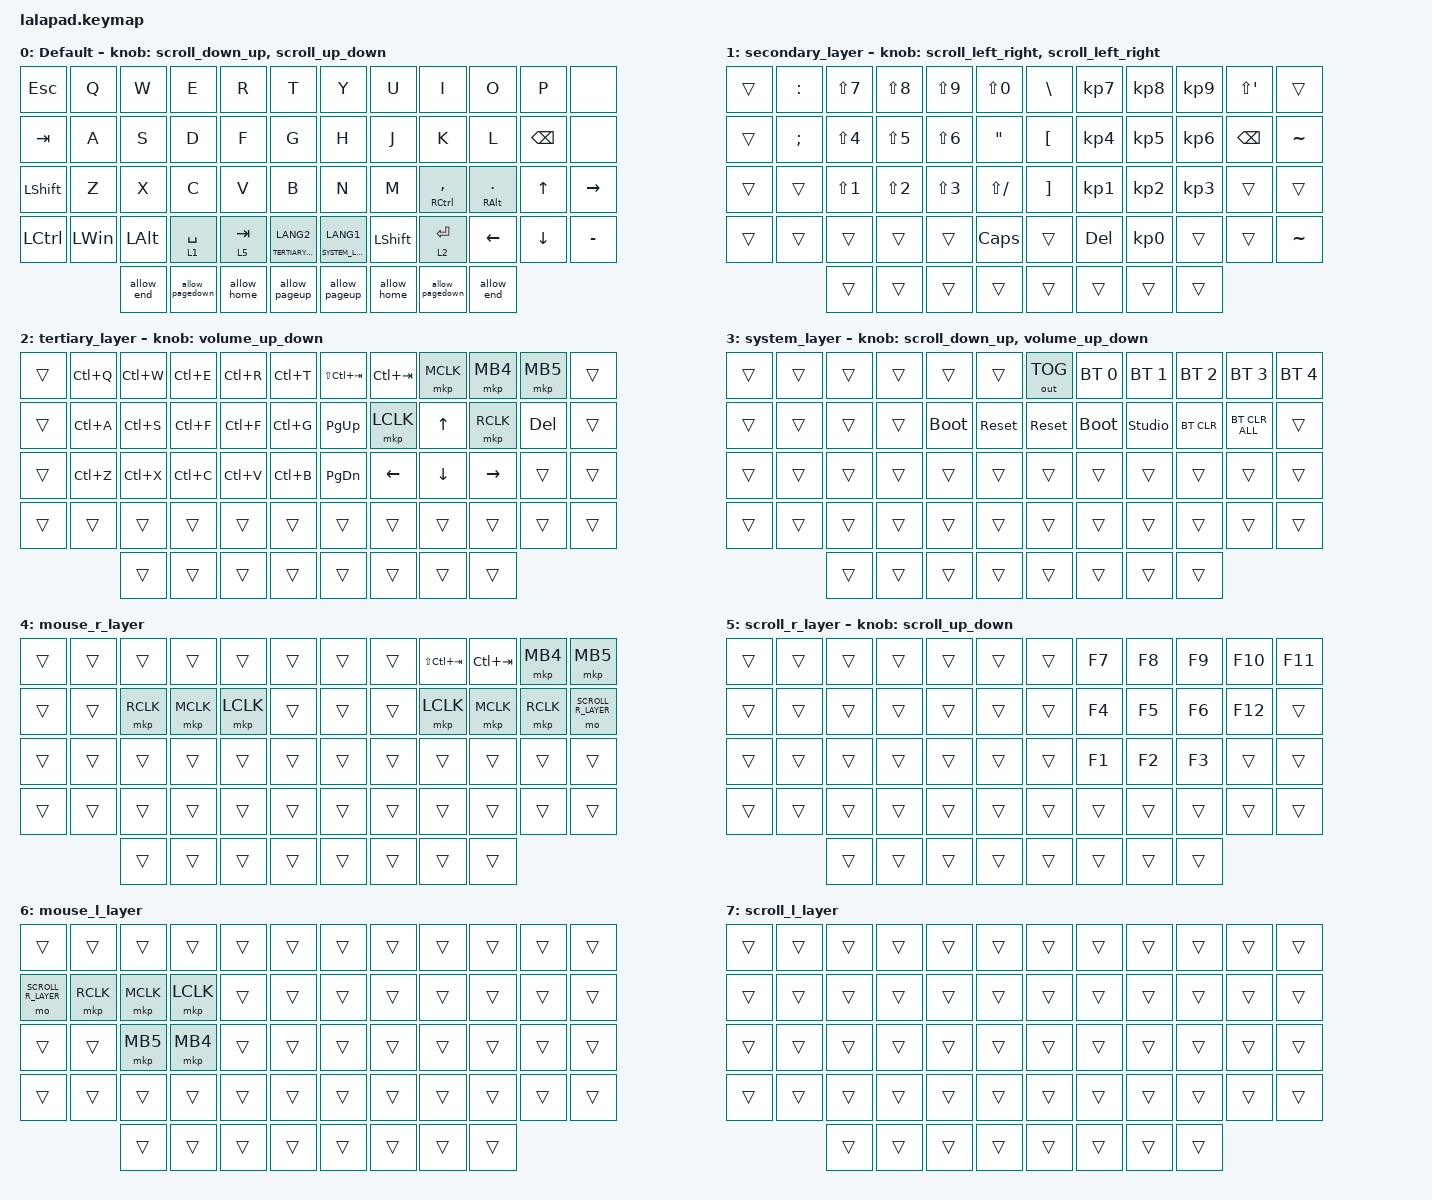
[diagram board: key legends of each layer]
#include <input/processors.dtsi>
#include <behaviors.dtsi>
#include <dt-bindings/zmk/bt.h>
#include <dt-bindings/zmk/keys.h>
#include <dt-bindings/zmk/outputs.h>
#include <dt-bindings/zmk/pointing.h>

#define DEFAULT_LAYER   0
#define SECONDARY_LAYER 1
#define TERTIARY_LAYER  2
#define SYSTEM_LAYER    3
#define MOUSE_R_LAYER   4
#define SCROLL_R_LAYER  5
#define MOUSE_L_LAYER   6
#define SCROLL_L_LAYER  7

// Mouse Scroll Value

#define ZMK_POINTING_DEFAULT_SCRL_VAL 100

// cirque trackpad input&layer control

&glidepoint_listener_R {
    input-processors =
        <&zip_xy_transform (INPUT_TRANSFORM_XY_SWAP | INPUT_TRANSFORM_X_INVERT | INPUT_TRANSFORM_Y_INVERT)>,
        <&zip_xy_scaler 2 1>,
        <&zip_temp_layer MOUSE_R_LAYER 500>;

    lowspeedmode {
        layers = <SECONDARY_LAYER>;
        input-processors =
            <&zip_xy_transform (INPUT_TRANSFORM_XY_SWAP | INPUT_TRANSFORM_X_INVERT | INPUT_TRANSFORM_Y_INVERT)>,
            <&zip_xy_scaler 3 5>,
            <&zip_temp_layer MOUSE_R_LAYER 500>;
    };

    scroller {
        layers = <SCROLL_R_LAYER>;
        input-processors =
            <&zip_xy_to_scroll_mapper>,
            <&zip_scroll_transform (INPUT_TRANSFORM_XY_SWAP | INPUT_TRANSFORM_Y_INVERT)>,
            <&zip_scroll_scaler 1 8>;
    };
};

&glidepoint_listener_L {
    input-processors =
        <&zip_xy_transform (INPUT_TRANSFORM_XY_SWAP | INPUT_TRANSFORM_X_INVERT | INPUT_TRANSFORM_Y_INVERT)>,
        <&zip_xy_scaler 3 2>,
        <&zip_temp_layer MOUSE_L_LAYER 500>;

    lowspeedmode {
        layers = <SECONDARY_LAYER>;
        input-processors =
            <&zip_xy_transform (INPUT_TRANSFORM_XY_SWAP | INPUT_TRANSFORM_X_INVERT | INPUT_TRANSFORM_Y_INVERT)>,
            <&zip_xy_scaler 3 4>,
            <&zip_temp_layer MOUSE_L_LAYER 500>;
    };

    scroller {
        layers = <SCROLL_L_LAYER>;
        input-processors =
            <&zip_xy_to_scroll_mapper>,
            <&zip_scroll_transform (INPUT_TRANSFORM_XY_SWAP | INPUT_TRANSFORM_Y_INVERT)>,
            <&zip_scroll_scaler 1 6>;
    };
};

/ {
    behaviors {
        // Encoder to Mouse Scroll

        scroll_up_down: sensor_scroll_up_down {
            compatible = "zmk,behavior-sensor-rotate";
            #sensor-binding-cells = <0>;
            bindings = <&msc SCRL_UP>, <&msc SCRL_DOWN>;

            tap-ms = <20>;
            label = "SCROLL_UP_DOWN";
        };

        scroll_down_up: sensor_scroll_down_up {
            compatible = "zmk,behavior-sensor-rotate";
            #sensor-binding-cells = <0>;
            bindings = <&msc SCRL_DOWN>, <&msc SCRL_UP>;

            tap-ms = <20>;
            label = "SCROLL_DOWN_UP";
        };

        scroll_left_right: sensor_scroll_left_right {
            compatible = "zmk,behavior-sensor-rotate";
            #sensor-binding-cells = <0>;
            bindings = <&msc SCRL_LEFT>, <&msc SCRL_RIGHT>;

            tap-ms = <20>;
            label = "SCROLL_LEFT_RIGHT";
        };

        scroll_right_left: sensor_scroll_right_left {
            compatible = "zmk,behavior-sensor-rotate";
            #sensor-binding-cells = <0>;
            bindings = <&msc SCRL_RIGHT>, <&msc SCRL_LEFT>;

            tap-ms = <20>;
            label = "SCROLL_RIGHT_LEFT";
        };

        volume_up_down: sensor_volume_up_down {
            compatible = "zmk,behavior-sensor-rotate";
            #sensor-binding-cells = <0>;
            bindings = <&kp C_VOLUME_UP>, <&kp C_VOLUME_DOWN>;

            tap-ms = <20>;
            label = "VOLUME_UP_DOWN";
        };

        dot_comma: dot_comma {
            compatible = "zmk,behavior-mod-morph";
            #binding-cells = <0>;
            bindings = <&kp KP_DOT>, <&kp COMMA>;

            mods = <(MOD_LSFT|MOD_RSFT)>;
            label = "DOT_COMMA";
        };

        pls_minus: pls_minus {
            compatible = "zmk,behavior-mod-morph";
            #binding-cells = <0>;
            bindings = <&kp PLUS>, <&kp MINUS>;

            mods = <(MOD_LSFT|MOD_RSFT)>;
            label = "PLS_MINUS";
        };

        allow_pageup: allow_pageup {
            compatible = "zmk,behavior-mod-morph";
            #binding-cells = <0>;
            bindings = <&kp UP>, <&kp PAGE_UP>;

            mods = <(MOD_LCTL|MOD_RCTL)>;
            label = "ALLOW_PAGEUP";
        };

        allow_pagedown: allow_pagedown {
            compatible = "zmk,behavior-mod-morph";
            #binding-cells = <0>;
            bindings = <&kp DOWN>, <&kp PAGE_DOWN>;

            mods = <(MOD_LCTL|MOD_RCTL)>;
            label = "ALLOW_PAGEDOWN";
        };

        allow_home: allow_home {
            compatible = "zmk,behavior-mod-morph";
            #binding-cells = <0>;
            bindings = <&kp LEFT>, <&kp HOME>;

            mods = <(MOD_LCTL|MOD_RCTL)>;
            label = "ALLOW_HOME";
        };

        allow_end: allow_end {
            compatible = "zmk,behavior-mod-morph";
            #binding-cells = <0>;
            bindings = <&kp RIGHT>, <&kp END>;

            mods = <(MOD_LCTL|MOD_RCTL)>;
            label = "ALLOW_END";
        };

        mt2: mod_tap2 {
            compatible = "zmk,behavior-hold-tap";
            #binding-cells = <2>;
            flavor = "tap-preferred";
            tapping-term-ms = <200>;
            quick-tap-ms = <200>;
            require-prior-idle-ms = <125>;
            bindings = <&kp>, <&kp>;
        };

        tapdance_minus_alt_dot: tapdance_minus_alt_dot {
            compatible = "zmk,behavior-tap-dance";
            label = "TAPDANCE_MINUS_ALT_DOT";
            #binding-cells = <0>;
            bindings = <&mt RIGHT_ALT MINUS>, <&kp PERIOD>;
        };

        TD_minus_l_nami: TD_minus_l_nami {
            compatible = "zmk,behavior-tap-dance";
            label = "TD_MINUS_L_NAMI";
            #binding-cells = <0>;
            bindings = <&kp MINUS>, <&mt TILDE L>;
        };
    };

    combos {
        compatible = "zmk,combos";

        COMBO_Slash {
            bindings = <&kp KP_SLASH>;
            key-positions = <7 8>;
            layers = <1>;
        };

        COMBO_Asterisk {
            bindings = <&kp ASTERISK>;
            key-positions = <8 9>;
            layers = <1>;
        };

        COMBO_Plus {
            bindings = <&kp PLUS>;
            key-positions = <20 21>;
            layers = <1>;
        };

        COMBO_Minus {
            bindings = <&kp MINUS>;
            key-positions = <20 19>;
            layers = <1>;
        };

        COMBO_Equal {
            bindings = <&kp EQUAL>;
            key-positions = <31 32>;
            layers = <1>;
        };

        COMBO_Period {
            bindings = <&kp PERIOD>;
            key-positions = <32 33>;
            layers = <1>;
        };

        kana {
            bindings = <&kp LANGUAGE_1>;
            key-positions = <18 19>;
            layers = <0>;
        };

        eiji {
            bindings = <&kt LANGUAGE_2>;
            key-positions = <17 16>;
            layers = <0>;
        };

        f10 {
            bindings = <&kp F10>;
            key-positions = <31 19>;
            layers = <5>;
        };

        f11 {
            bindings = <&kp F11>;
            key-positions = <32 20>;
            layers = <5>;
        };

        f12 {
            bindings = <&kp F12>;
            key-positions = <33 21>;
            layers = <5>;
        };
    };

    keymap {
        compatible = "zmk,keymap";

        DEFAULT_LAYER {
            display-name = "Default";
            sensor-bindings = <&scroll_down_up>, <&scroll_up_down>;

            bindings = <
&kp ESC    &kp Q         &kp W         &kp E            &kp R        &kp T                     &kp Y                   &kp U        &kp I            &kp O              &kp P          &none
&kp TAB    &kp A         &kp S         &kp D            &kp F        &kp G                     &kp H                   &kp J        &kp K            &kp L              &kp BACKSPACE  &none
&kp LSHFT  &kp Z         &kp X         &kp C            &kp V        &kp B                     &kp N                   &kp M        &mt RCTRL COMMA  &mt RIGHT_ALT DOT  &kp UP         &kp RIGHT_ARROW
&kp LCTRL  &kp LEFT_WIN  &kp LEFT_ALT  &lt 1 SPACE      &lt 5 TAB    &lt TERTIARY_LAYER LANG2  &lt SYSTEM_LAYER LANG1  &kp LSHIFT   &lt 2 ENTER      &kp LEFT           &kp DOWN       &kp MINUS
                         &allow_end    &allow_pagedown  &allow_home  &allow_pageup             &allow_pageup           &allow_home  &allow_pagedown  &allow_end
            >;
        };

        SECONDARY_LAYER {
            display-name = "secondary_layer";
            sensor-bindings = <&scroll_left_right>, <&scroll_left_right>;

            bindings = <
&trans  &kp COLON      &kp LS(NUMBER_7)  &kp LS(N8)        &kp LS(NUMBER_9)  &kp LS(N0)     &kp BACKSLASH      &kp KP_NUMBER_7  &kp KP_NUMBER_8  &kp KP_NUMBER_9  &kp LS(SINGLE_QUOTE)  &trans
&trans  &kp SEMICOLON  &kp LS(NUMBER_4)  &kp LS(NUMBER_5)  &kp LS(NUMBER_6)  &kp DQT        &kp LEFT_BRACKET   &kp KP_NUMBER_4  &kp KP_NUMBER_5  &kp KP_NUMBER_6  &kp BACKSPACE         &kp TILDE
&trans  &trans         &kp LS(N1)        &kp LS(N2)        &kp LS(N3)        &kp LS(SLASH)  &kp RIGHT_BRACKET  &kp KP_NUMBER_1  &kp KP_NUMBER_2  &kp KP_NUMBER_3  &trans                &trans
&trans  &trans         &trans            &trans            &trans            &kp CAPS       &trans             &kp DELETE       &kp KP_NUMBER_0  &trans           &trans                &kp TILDE
                       &trans            &trans            &trans            &trans         &trans             &trans           &trans           &trans
            >;
        };

        TERTIARY_LAYER {
            display-name = "tertiary_layer";
            bindings = <
&trans  &kp LC(Q)  &kp LC(W)  &kp LC(E)  &kp LC(R)  &kp LC(T)  &kp LS(LC(TAB))  &kp LC(TAB)     &mkp MCLK     &mkp MB4   &mkp MB5  &trans
&trans  &kp LC(A)  &kp LC(S)  &kp LC(F)  &kp LC(F)  &kp LC(G)  &kp PAGE_UP      &mkp LCLK       &kp UP_ARROW  &mkp RCLK  &kp DEL   &trans
&trans  &kp LC(Z)  &kp LC(X)  &kp LC(C)  &kp LC(V)  &kp LC(B)  &kp PAGE_DOWN    &kp LEFT_ARROW  &kp DOWN      &kp RIGHT  &trans    &trans
&trans  &trans     &trans     &trans     &trans     &trans     &trans           &trans          &trans        &trans     &trans    &trans
                   &trans     &trans     &trans     &trans     &trans           &trans          &trans        &trans
            >;

            sensor-bindings = <&volume_up_down>;
        };

        SYSTEM_LAYER {
            display-name = "system_layer";
            sensor-bindings = <&scroll_down_up>, <&volume_up_down>;

            bindings = <
&trans  &trans  &trans  &trans  &trans       &trans      &out OUT_TOG  &bt BT_SEL 0  &bt BT_SEL 1    &bt BT_SEL 2  &bt BT_SEL 3    &bt BT_SEL 4
&trans  &trans  &trans  &trans  &bootloader  &sys_reset  &sys_reset    &bootloader   &studio_unlock  &bt BT_CLR    &bt BT_CLR_ALL  &trans
&trans  &trans  &trans  &trans  &trans       &trans      &trans        &trans        &trans          &trans        &trans          &trans
&trans  &trans  &trans  &trans  &trans       &trans      &trans        &trans        &trans          &trans        &trans          &trans
                &trans  &trans  &trans       &trans      &trans        &trans        &trans          &trans
            >;
        };

        MOUSE_R_LAYER {
            display-name = "mouse_r_layer";
            bindings = <
&trans  &trans  &trans     &trans     &trans     &trans  &trans  &trans  &kp LS(LC(TAB))  &kp LC(TAB)  &mkp MB4   &mkp MB5
&trans  &trans  &mkp RCLK  &mkp MCLK  &mkp LCLK  &trans  &trans  &trans  &mkp LCLK        &mkp MCLK    &mkp RCLK  &mo SCROLL_R_LAYER
&trans  &trans  &trans     &trans     &trans     &trans  &trans  &trans  &trans           &trans       &trans     &trans
&trans  &trans  &trans     &trans     &trans     &trans  &trans  &trans  &trans           &trans       &trans     &trans
                &trans     &trans     &trans     &trans  &trans  &trans  &trans           &trans
            >;
        };

        SCROLL_R_LAYER {
            display-name = "scroll_r_layer";
            bindings = <
&trans  &trans  &trans  &trans  &trans  &trans  &trans  &kp F7  &kp F8  &kp F9  &kp F10  &kp F11
&trans  &trans  &trans  &trans  &trans  &trans  &trans  &kp F4  &kp F5  &kp F6  &kp F12  &trans
&trans  &trans  &trans  &trans  &trans  &trans  &trans  &kp F1  &kp F2  &kp F3  &trans   &trans
&trans  &trans  &trans  &trans  &trans  &trans  &trans  &trans  &trans  &trans  &trans   &trans
                &trans  &trans  &trans  &trans  &trans  &trans  &trans  &trans
            >;

            sensor-bindings = <&scroll_up_down>;
        };

        MOUSE_L_LAYER {
            display-name = "mouse_l_layer";
            bindings = <
&trans              &trans     &trans     &trans     &trans  &trans  &trans  &trans  &trans  &trans  &trans  &trans
&mo SCROLL_R_LAYER  &mkp RCLK  &mkp MCLK  &mkp LCLK  &trans  &trans  &trans  &trans  &trans  &trans  &trans  &trans
&trans              &trans     &mkp MB5   &mkp MB4   &trans  &trans  &trans  &trans  &trans  &trans  &trans  &trans
&trans              &trans     &trans     &trans     &trans  &trans  &trans  &trans  &trans  &trans  &trans  &trans
                               &trans     &trans     &trans  &trans  &trans  &trans  &trans  &trans
            >;
        };

        SCROLL_L_LAYER {
            display-name = "scroll_l_layer";
            bindings = <
&trans  &trans  &trans  &trans  &trans  &trans  &trans  &trans  &trans  &trans  &trans  &trans
&trans  &trans  &trans  &trans  &trans  &trans  &trans  &trans  &trans  &trans  &trans  &trans
&trans  &trans  &trans  &trans  &trans  &trans  &trans  &trans  &trans  &trans  &trans  &trans
&trans  &trans  &trans  &trans  &trans  &trans  &trans  &trans  &trans  &trans  &trans  &trans
                &trans  &trans  &trans  &trans  &trans  &trans  &trans  &trans
            >;
        };
    };
};
